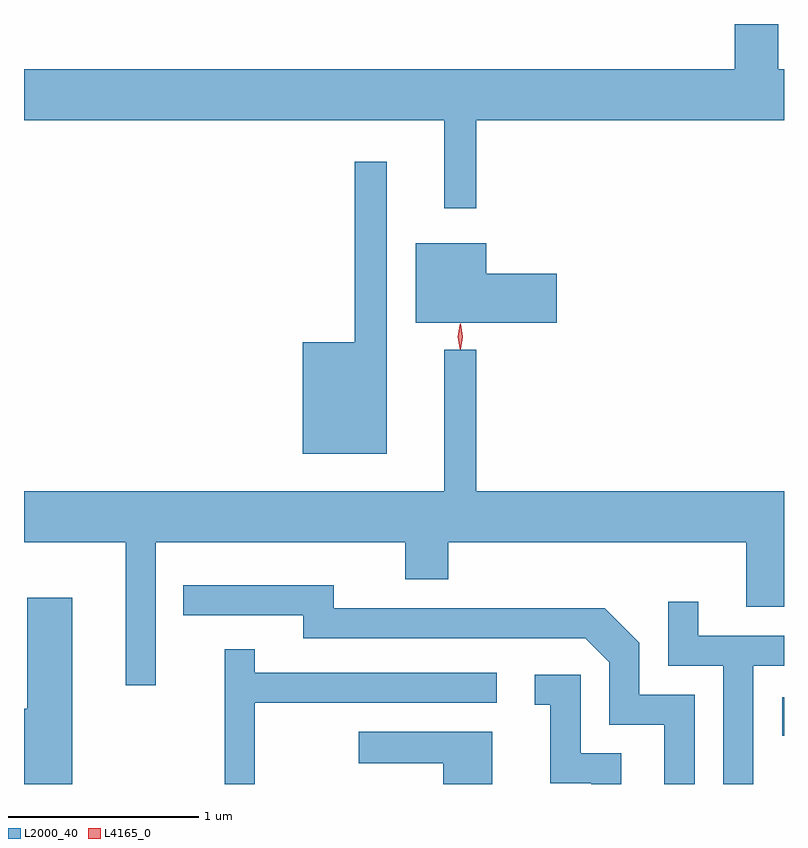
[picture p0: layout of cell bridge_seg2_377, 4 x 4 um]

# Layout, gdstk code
import gdstk
lib = gdstk.Library(unit=1e-6, precision=1e-09)
def R(c, l, rs):  # rectangles x0, y0, x1, y1
    for r in rs: c.add(gdstk.rectangle(r[:2], r[2:], *l))
def P(c, l, *ps):  # polygons
    for p in ps: c.add(gdstk.Polygon(p, *l))
L2000_40 = (2000, 40)
L4165_0 = (4165, 0)

bridge_seg2_377 = lib.new_cell('bridge_seg2_377')
R(bridge_seg2_377, L2000_40, [(529.701,1007.336,529.71,1007.539)])
P(bridge_seg2_377, L2000_40, [(528.089,1010.576),(529.71,1010.576),(529.71,1010.844),(529.679,1010.844),(529.679,1011.083),(529.451,1011.083),(529.451,1010.844),(525.71,1010.844),(525.71,1010.576),(527.921,1010.576),(527.921,1010.113),(528.089,1010.113)],
  [(527.619,1010.358),(527.451,1010.358),(527.451,1009.409),(527.176,1009.409),(527.176,1008.821),(527.619,1008.821)],
  [(528.514,1009.769),(528.144,1009.769),(528.144,1009.929),(527.771,1009.929),(527.771,1009.511),(528.514,1009.511)],
  [(526.404,1008.356),(527.716,1008.356),(527.716,1008.161),(527.944,1008.161),(527.944,1008.356),(529.511,1008.356),(529.511,1008.016),(529.71,1008.016),(529.71,1008.624),(528.089,1008.624),(528.089,1009.368),(527.921,1009.368),(527.921,1008.624),(525.71,1008.624),(525.71,1008.356),(526.246,1008.356),(526.246,1007.603),(526.404,1007.603)],
  [(529.239,1007.554),(528.949,1007.554),(528.949,1007.827),(528.767,1008.009),(527.339,1008.009),(527.339,1008.129),(526.548,1008.129),(526.548,1007.971),(527.181,1007.971),(527.181,1007.851),(528.664,1007.851),(528.791,1007.724),(528.791,1007.396),(529.081,1007.396),(529.081,1007.083),(529.239,1007.083)],
  [(525.964,1008.064),(525.726,1008.064),(525.726,1007.479),(525.71,1007.479),(525.71,1007.083),(525.964,1007.083)],
  [(529.549,1007.706),(529.71,1007.706),(529.71,1007.864),(529.259,1007.864),(529.259,1008.043),(529.101,1008.043),(529.101,1007.706),(529.391,1007.706),(529.391,1007.083),(529.549,1007.083)],
  [(526.924,1007.511),(528.198,1007.511),(528.198,1007.669),(526.924,1007.669),(526.924,1007.793),(526.766,1007.793),(526.766,1007.083),(526.924,1007.083)],
  [(528.854,1007.244),(528.639,1007.244),(528.639,1007.659),(528.398,1007.659),(528.398,1007.501),(528.481,1007.501),(528.481,1007.086),(528.696,1007.086),(528.696,1007.083),(528.854,1007.083)],
  [(528.174,1007.359),(527.473,1007.359),(527.473,1007.191),(527.916,1007.191),(527.916,1007.083),(528.174,1007.083)])
P(bridge_seg2_377, L4165_0, [(528.004,1009.373),(527.994,1009.436),(528.004,1009.499),(528.004,1009.5),(528.005,1009.499),(528.014,1009.436),(528.005,1009.373),(528.005,1009.373)],
  [(528.007,1009.37),(527.998,1009.438),(528.007,1009.505),(528.008,1009.506),(528.008,1009.505),(528.018,1009.438),(528.008,1009.37),(528.008,1009.37)])

lib.write_gds('bridge_seg2_377.gds')
